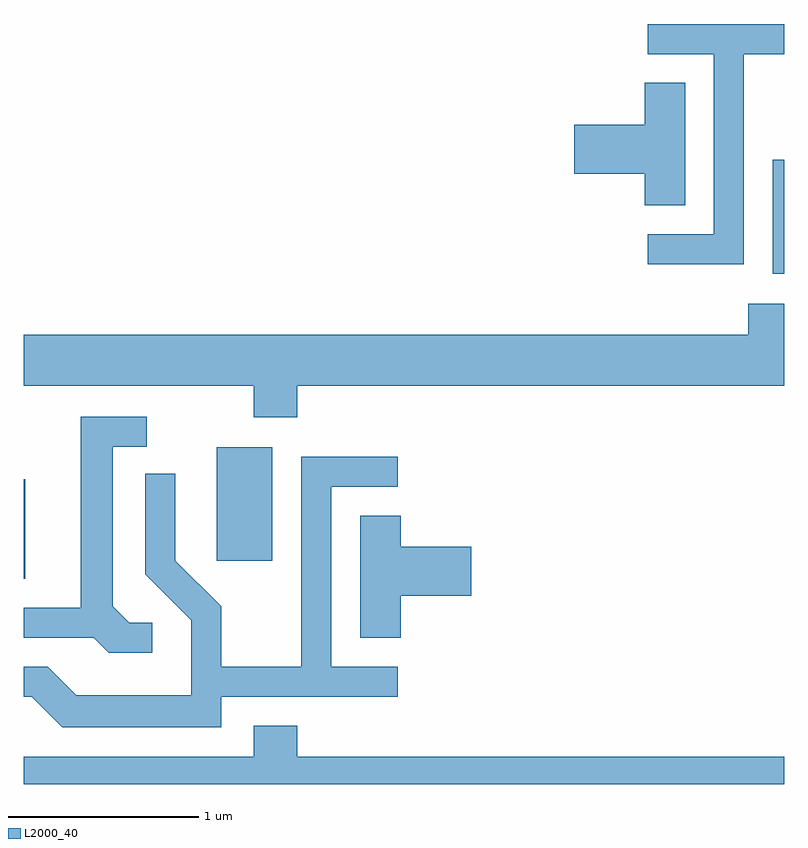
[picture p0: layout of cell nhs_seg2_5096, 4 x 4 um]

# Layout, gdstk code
import gdstk
lib = gdstk.Library(unit=1e-6, precision=1e-09)
def R(c, l, rs):  # rectangles x0, y0, x1, y1
    for r in rs: c.add(gdstk.rectangle(r[:2], r[2:], *l))
def P(c, l, *ps):  # polygons
    for p in ps: c.add(gdstk.Polygon(p, *l))
L2000_40 = (2000, 40)

nhs_seg2_5096 = lib.new_cell('nhs_seg2_5096')
R(nhs_seg2_5096, L2000_40, [(335.611,1022.881,335.619,1023.404), (336.626,1022.976,336.919,1023.574), (339.551,1024.486,339.611,1025.084)])
P(nhs_seg2_5096, L2000_40, [(339.399,1025.641),(339.611,1025.641),(339.611,1025.799),(338.893,1025.799),(338.893,1025.641),(339.241,1025.641),(339.241,1024.694),(338.893,1024.694),(338.893,1024.536),(339.399,1024.536)],
  [(339.089,1025.489),(338.876,1025.489),(338.876,1025.269),(338.506,1025.269),(338.506,1025.011),(338.876,1025.011),(338.876,1024.846),(339.089,1024.846)],
  [(337.049,1023.896),(339.611,1023.896),(339.611,1024.329),(339.421,1024.329),(339.421,1024.164),(335.611,1024.164),(335.611,1023.896),(336.821,1023.896),(336.821,1023.731),(337.049,1023.731)],
  [(336.288,1022.649),(336.167,1022.649),(336.079,1022.737),(336.079,1023.576),(336.258,1023.576),(336.258,1023.734),(335.911,1023.734),(335.911,1022.729),(335.611,1022.729),(335.611,1022.571),(335.979,1022.571),(336.059,1022.491),(336.288,1022.491)],
  [(336.649,1022.261),(337.578,1022.261),(337.578,1022.419),(337.229,1022.419),(337.229,1023.366),(337.578,1023.366),(337.578,1023.524),(337.071,1023.524),(337.071,1022.419),(336.649,1022.419),(336.649,1022.737),(336.409,1022.977),(336.409,1023.433),(336.251,1023.433),(336.251,1022.904),(336.491,1022.664),(336.491,1022.269),(335.887,1022.269),(335.737,1022.419),(335.611,1022.419),(335.611,1022.261),(335.654,1022.261),(335.814,1022.101),(336.649,1022.101)],
  [(337.594,1022.791),(337.964,1022.791),(337.964,1023.049),(337.594,1023.049),(337.594,1023.214),(337.381,1023.214),(337.381,1022.571),(337.594,1022.571)],
  [(339.611,1021.944),(337.049,1021.944),(337.049,1022.109),(336.821,1022.109),(336.821,1021.944),(335.611,1021.944),(335.611,1021.802),(339.611,1021.802)])

lib.write_gds('nhs_seg2_5096.gds')
